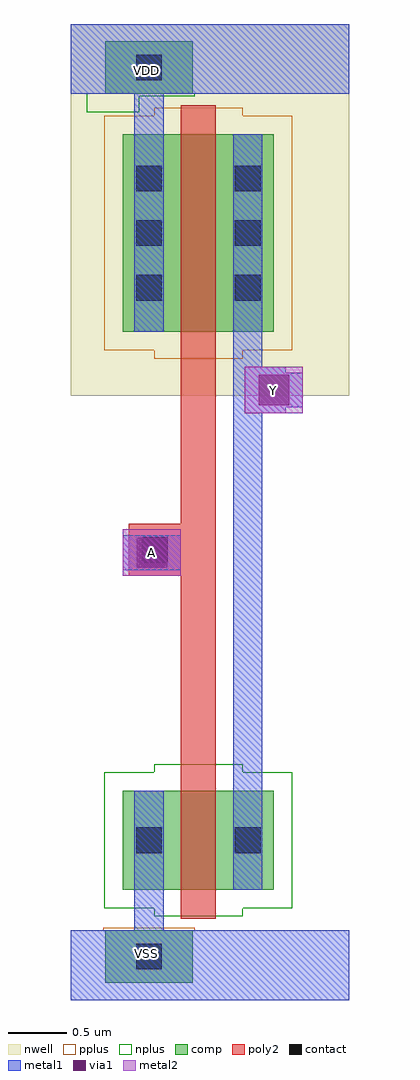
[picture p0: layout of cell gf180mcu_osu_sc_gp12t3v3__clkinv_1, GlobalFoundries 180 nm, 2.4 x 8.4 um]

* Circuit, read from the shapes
.subckt gf180mcu_osu_sc_gp12t3v3__clkinv_1 A VDD VSS Y
XM1 Y A VSS VSS nfet_03v3 w=0.85u l=0.3u
XM2 Y A VDD VDD pfet_03v3 w=1.7u l=0.3u
.ends

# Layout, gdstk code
import gdstk
lib = gdstk.Library(unit=1e-6, precision=1e-09)
def R(c, l, rs):  # rectangles x0, y0, x1, y1
    for r in rs: c.add(gdstk.rectangle(r[:2], r[2:], *l))
def A(c, l, x, y, w, h, nx, ny, dx, dy):  # array of equal rectangles
    R(c, l, [(x+i*dx, y+j*dy, x+i*dx+w, y+j*dy+h) for i in range(nx) for j in range(ny)])
nwell = (21, 0)
comp = (22, 0)
poly2 = (30, 0)
pplus = (31, 0)
nplus = (32, 0)
contact = (33, 0)
metal1 = (34, 0)
via1 = (35, 0)
metal2 = (36, 0)

gf180mcu_osu_sc_gp12t3v3 = lib.new_cell('gf180mcu_osu_sc_gp12t3v3__clkinv_1')
R(gf180mcu_osu_sc_gp12t3v3, nwell, [(0,5.2,2.4,8.4)])
R(gf180mcu_osu_sc_gp12t3v3, comp, [(0.3,0.15,1.05,0.6), (0.45,0.95,1.75,1.8), (0.45,5.75,1.75,7.45), (0.3,7.8,1.05,8.25)])
R(gf180mcu_osu_sc_gp12t3v3, poly2, [(0.95,0.7,1.25,3.65), (0.5,3.65,1.25,4.1), (0.95,4.1,1.25,7.7)])
R(gf180mcu_osu_sc_gp12t3v3, pplus, [(0,0,2.4,0.6), (0.28,0.6,1.07,0.62), (0.72,5.52,1.48,5.59), (0.29,5.59,1.91,7.61), (0.72,7.61,1.48,7.68)])
R(gf180mcu_osu_sc_gp12t3v3, nplus, [(0.72,0.72,1.48,0.79), (0.29,0.79,1.91,1.96), (0.72,1.96,1.48,2.03), (0.14,7.64,0.59,7.78), (0.14,7.78,1.07,7.8), (0,7.8,2.4,8.4)])
A(gf180mcu_osu_sc_gp12t3v3, contact, 0.565, 6.02, 0.22, 0.22, 1, 3, 0, 0.47)
A(gf180mcu_osu_sc_gp12t3v3, contact, 1.415, 6.02, 0.22, 0.22, 1, 3, 0, 0.47)
R(gf180mcu_osu_sc_gp12t3v3, contact, [(0.565,0.265,0.785,0.485), (0.565,1.265,0.785,1.485), (1.415,1.265,1.635,1.485), (0.615,3.765,0.835,3.985), (0.565,7.915,0.785,8.135)])
R(gf180mcu_osu_sc_gp12t3v3, metal1, [(0,0,2.4,0.6), (0.55,0.6,0.8,1.8), (1.4,0.95,1.65,5.05), (0.45,3.7,0.95,4), (1.4,5.05,1.85,5.1), (1.4,5.1,2,5.4), (1.4,5.4,1.85,5.45), (1.4,5.45,1.65,7.45), (0.55,5.75,0.8,7.8), (0,7.8,2.4,8.4)])
R(gf180mcu_osu_sc_gp12t3v3, via1, [(0.57,3.72,0.83,3.98), (1.62,5.12,1.88,5.38)])
R(gf180mcu_osu_sc_gp12t3v3, metal2, [(0.45,3.65,0.95,4.05), (1.5,5.05,2,5.45)])
gf180mcu_osu_sc_gp12t3v3.add(gdstk.Label('A', (0.7,3.85), layer=36, texttype=10))
gf180mcu_osu_sc_gp12t3v3.add(gdstk.Label('Y', (1.75,5.25), layer=36, texttype=10))
gf180mcu_osu_sc_gp12t3v3.add(gdstk.Label('VDD', (0.65,8), layer=34, texttype=10))
gf180mcu_osu_sc_gp12t3v3.add(gdstk.Label('VSS', (0.65,0.4), layer=34, texttype=10))

lib.write_gds('gf180mcu_osu_sc_gp12t3v3__clkinv_1.gds')
